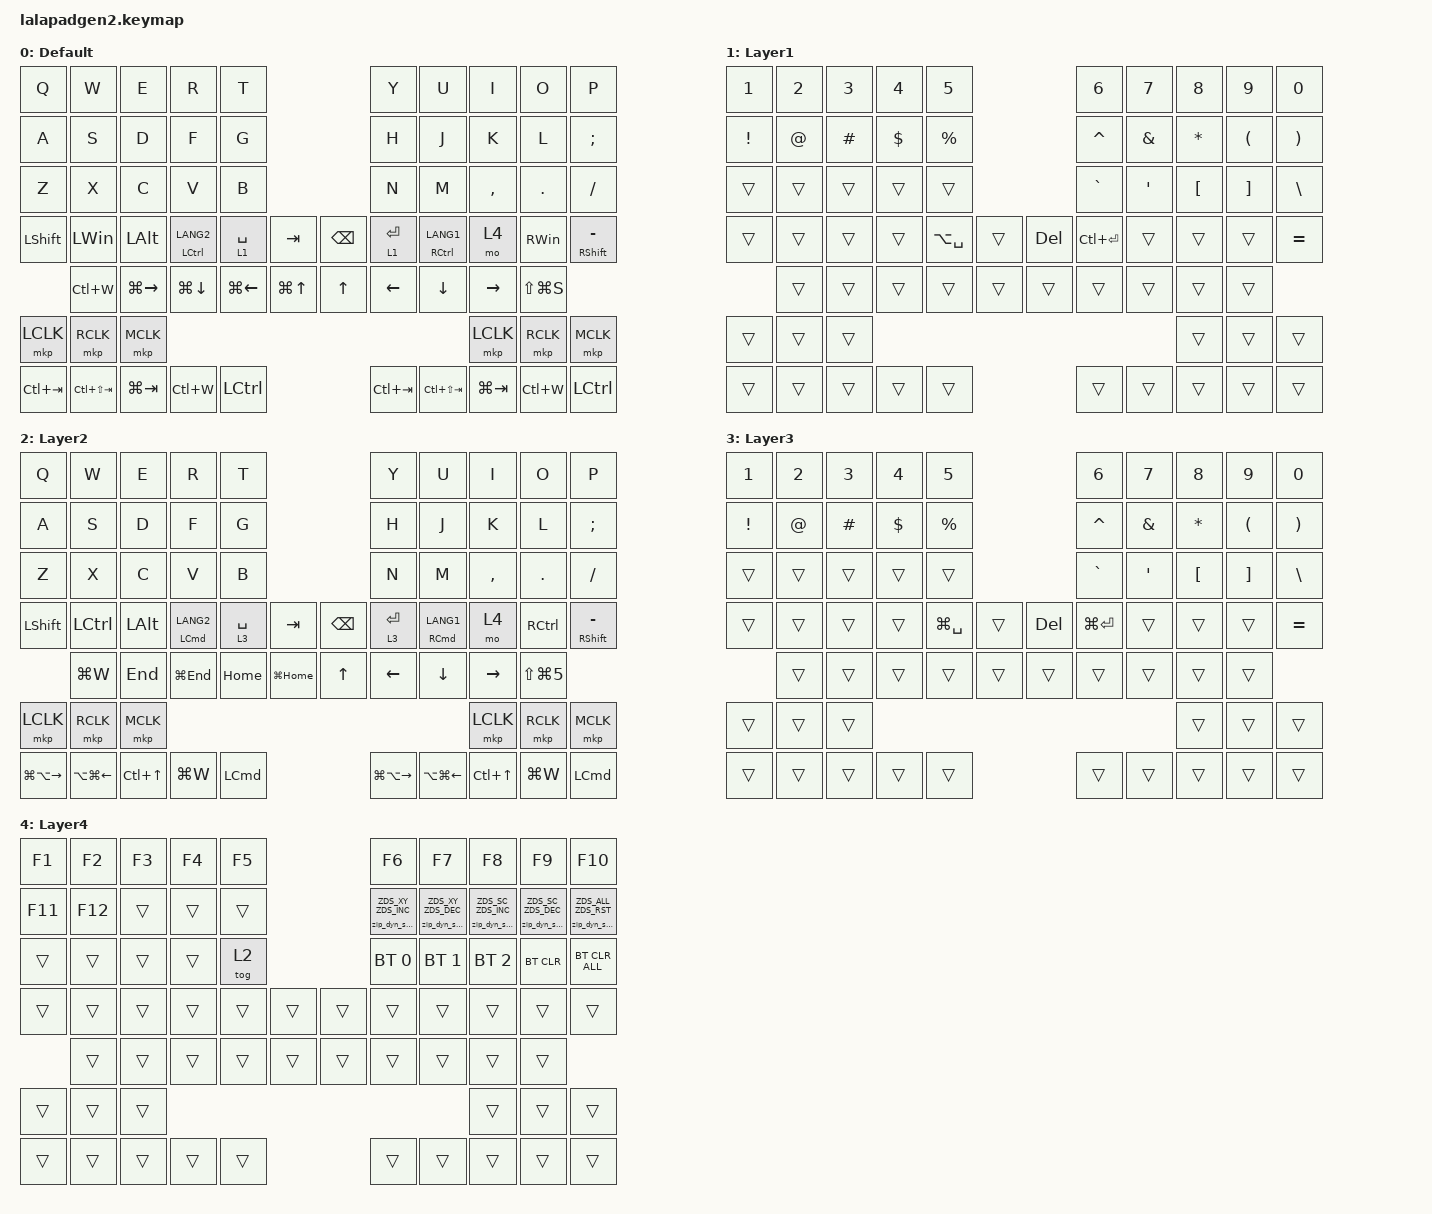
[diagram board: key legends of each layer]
#include <input/processors.dtsi>
#include <dt-bindings/zmk/zip_dynamic_scale.h>
#include <behaviors.dtsi>
#include <dt-bindings/zmk/bt.h>
#include <dt-bindings/zmk/keys.h>
#include <dt-bindings/zmk/pointing.h>

#define DEFAULT_LAYER   0
#define SECONDARY_LAYER 1
#define TERTIARY_LAYER  2
#define SYSTEM_LAYER    3

&mt { quick-tap-ms = <200>; };

&lt { quick-tap-ms = <200>; };

/ {
    behaviors {
        zip_dyn_scale: zip_dyn_scale {
            compatible = "zmk,behavior-zip-dynamic-scale";
            #binding-cells = <2>;
        };

        zip_dyn_scale_set: zip_dyn_scale_set {
            compatible = "zmk,behavior-zip-dynamic-scale-set";
            #binding-cells = <2>;
        };

        mt2: mod_tap2 {
            compatible = "zmk,behavior-hold-tap";
            #binding-cells = <2>;
            flavor = "tap-preferred";
            tapping-term-ms = <200>;
            quick-tap-ms = <200>;
            require-prior-idle-ms = <125>;
            bindings = <&kp>, <&kp>;
        };

        tap_dance_layer_1and2: tap_dance_layer_1and2 {
            compatible = "zmk,behavior-tap-dance";
            label = "td_mo12";
            #binding-cells = <0>;
            bindings = <&mo 1>, <&mo 0>;
        };
    };

    combos {
        compatible = "zmk,combos";

        COMBO_ESC {
            bindings = <&kp ESCAPE>;
            key-positions = <0 1>;
        };
    };

    keymap {
        compatible = "zmk,keymap";

        DEFAULT_LAYER {
            display-name = "Default";
            bindings = <
&kp Q        &kp W            &kp E                &kp R                   &kp T                                                &kp Y        &kp U                    &kp I        &kp O          &kp P
&kp A        &kp S            &kp D                &kp F                   &kp G                                                &kp H        &kp J                    &kp K        &kp L          &kp SEMI
&kp Z        &kp X            &kp C                &kp V                   &kp B                                                &kp N        &kp M                    &kp COMMA    &kp DOT        &kp FSLH
&kp LSHFT    &kp LEFT_WIN     &kp LEFT_ALT         &mt LEFT_CONTROL LANG2  &lt 1 SPACE         &kp TAB           &kp BACKSPACE  &lt 1 ENTER  &mt RIGHT_CONTROL LANG1  &mo 4        &kp RIGHT_WIN  &mt RIGHT_SHIFT MINUS
             &kp LC(W)        &kp LG(RIGHT_ARROW)  &kp LG(DOWN_ARROW)      &kp LG(LEFT_ARROW)  &kp LG(UP_ARROW)  &kp UP         &kp LEFT     &kp DOWN                 &kp RIGHT    &kp LS(LG(S))
&mkp LCLK    &mkp RCLK        &mkp MCLK                                                                                                                               &mkp LCLK    &mkp RCLK      &mkp MCLK
&kp LC(TAB)  &kp LC(LS(TAB))  &kp LG(TAB)          &kp LC(W)               &kp LEFT_CONTROL                                     &kp LC(TAB)  &kp LC(LS(TAB))          &kp LG(TAB)  &kp LC(W)      &kp LEFT_CONTROL
            >;
        };

        NUMBER {
            display-name = "Layer1";
            bindings = <
&kp N1           &kp N2       &kp N3    &kp N4      &kp N5                          &kp N6         &kp N7         &kp N8            &kp N9                &kp N0
&kp EXCLAMATION  &kp AT_SIGN  &kp HASH  &kp DOLLAR  &kp PERCENT                     &kp CARET      &kp AMPERSAND  &kp ASTERISK      &kp LEFT_PARENTHESIS  &kp RIGHT_PARENTHESIS
&trans           &trans       &trans    &trans      &trans                          &kp GRAVE      &kp SQT        &kp LEFT_BRACKET  &kp RIGHT_BRACKET     &kp BACKSLASH
&trans           &trans       &trans    &trans      &kp LA(SPACE)  &trans  &kp DEL  &kp LC(ENTER)  &trans         &trans            &trans                &kp EQUAL
                 &trans       &trans    &trans      &trans         &trans  &trans   &trans         &trans         &trans            &trans
&trans           &trans       &trans                                                                              &trans            &trans                &trans
&trans           &trans       &trans    &trans      &trans                          &trans         &trans         &trans            &trans                &trans
            >;
        };

        MAC {
            display-name = "Layer2";
            bindings = <
&kp Q                    &kp W                   &kp E             &kp R           &kp T                                     &kp Y                    &kp U                   &kp I             &kp O              &kp P
&kp A                    &kp S                   &kp D             &kp F           &kp G                                     &kp H                    &kp J                   &kp K             &kp L              &kp SEMI
&kp Z                    &kp X                   &kp C             &kp V           &kp B                                     &kp N                    &kp M                   &kp COMMA         &kp DOT            &kp FSLH
&kp LSHFT                &kp LEFT_CONTROL        &kp LEFT_ALT      &mt LCMD LANG2  &lt 3 SPACE  &kp TAB       &kp BACKSPACE  &lt 3 ENTER              &mt RCMD LANG1          &mo 4             &kp RIGHT_CONTROL  &mt RIGHT_SHIFT MINUS
                         &kp LG(W)               &kp END           &kp LG(END)     &kp HOME     &kp LG(HOME)  &kp UP         &kp LEFT                 &kp DOWN                &kp RIGHT         &kp LS(LG(N5))
&mkp LCLK                &mkp RCLK               &mkp MCLK                                                                                                                    &mkp LCLK         &mkp RCLK          &mkp MCLK
&kp LG(LA(RIGHT_ARROW))  &kp LA(LG(LEFT_ARROW))  &kp LC(UP_ARROW)  &kp LG(W)       &kp LCMD                                  &kp LG(LA(RIGHT_ARROW))  &kp LA(LG(LEFT_ARROW))  &kp LC(UP_ARROW)  &kp LG(W)          &kp LCMD
            >;
        };

        MAC_NUMBER {
            display-name = "Layer3";
            bindings = <
&kp N1           &kp N2       &kp N3    &kp N4      &kp N5                          &kp N6         &kp N7         &kp N8            &kp N9                &kp N0
&kp EXCLAMATION  &kp AT_SIGN  &kp HASH  &kp DOLLAR  &kp PERCENT                     &kp CARET      &kp AMPERSAND  &kp ASTERISK      &kp LEFT_PARENTHESIS  &kp RIGHT_PARENTHESIS
&trans           &trans       &trans    &trans      &trans                          &kp GRAVE      &kp SQT        &kp LEFT_BRACKET  &kp RIGHT_BRACKET     &kp BACKSLASH
&trans           &trans       &trans    &trans      &kp LG(SPACE)  &trans  &kp DEL  &kp LG(ENTER)  &trans         &trans            &trans                &kp EQUAL
                 &trans       &trans    &trans      &trans         &trans  &trans   &trans         &trans         &trans            &trans
&trans           &trans       &trans                                                                              &trans            &trans                &trans
&trans           &trans       &trans    &trans      &trans                          &trans         &trans         &trans            &trans                &trans
            >;
        };

        FUNCTION {
            display-name = "Layer4";
            bindings = <
&kp F1   &kp F2   &kp F3  &kp F4  &kp F5                  &kp F6                         &kp F7                         &kp F8                         &kp F9                         &kp F10
&kp F11  &kp F12  &trans  &trans  &trans                  &zip_dyn_scale ZDS_XY ZDS_INC  &zip_dyn_scale ZDS_XY ZDS_DEC  &zip_dyn_scale ZDS_SC ZDS_INC  &zip_dyn_scale ZDS_SC ZDS_DEC  &zip_dyn_scale ZDS_ALL ZDS_RST
&trans   &trans   &trans  &trans  &tog 2                  &bt BT_SEL 0                   &bt BT_SEL 1                   &bt BT_SEL 2                   &bt BT_CLR                     &bt BT_CLR_ALL
&trans   &trans   &trans  &trans  &trans  &trans  &trans  &trans                         &trans                         &trans                         &trans                         &trans
         &trans   &trans  &trans  &trans  &trans  &trans  &trans                         &trans                         &trans                         &trans
&trans   &trans   &trans                                                                                                &trans                         &trans                         &trans
&trans   &trans   &trans  &trans  &trans                  &trans                         &trans                         &trans                         &trans                         &trans
            >;
        };
    };

    conditional_layers { compatible = "zmk,conditional-layers"; };
};
